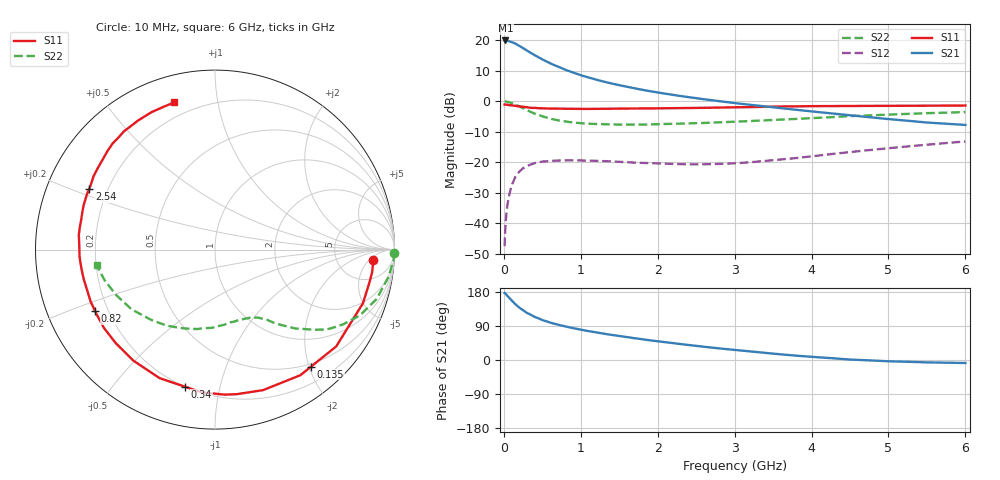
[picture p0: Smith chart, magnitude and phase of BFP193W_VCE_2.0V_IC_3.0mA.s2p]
! Infineon Technologies  Discrete & RF Semiconductors
! BFP193W
! VCE = 2.0 V,  IC =  3.0 mA
! Common Emitter S-Parameters:  Jan 2016
# GHz  S  MA  R  50
!  f  S11  S21  S12  S22
! GHz  MAG  ANG  MAG  ANG  MAG  ANG  MAG  ANG
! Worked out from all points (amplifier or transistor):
!   210 points, 10 MHz to 6 GHz, reference 50 ohm
!   highest |S21| = 19.9 dB at 20 MHz (marker M1)
!   |S21| within 3 dB of that: start of sweep to 280.4 MHz
!   unconditionally stable (mu >= 1): 1.894 GHz to 4.935 GHz
!   at 185 MHz: K = 0.10, MSG = 21.0 dB, |S12| = -23.6 dB
!   at 1.52 GHz: K = 0.80, MSG = 12.5 dB, |S12| = -19.9 dB
!   at 6 GHz: K = 0.96, MSG = 2.7 dB, |S12| = -13.2 dB
!   S11 on the Smith chart (normalised r, x): 10 MHz: 12, -7; 135 MHz: 0.45, -2.03; 340 MHz: 0.20, -0.79; 820 MHz: 0.15, -0.24; 2.54 GHz: 0.13, +0.23; 6 GHz: 0.13, +0.75
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0.01  0.8837 -3.9  9.888 176.9  0.0042 87.6  0.9997 -1.0
0.02  0.8847 -8.0  9.938 175.4  0.0086 84.2  0.9964 -3.7
0.05  0.8769 -19.9  9.819 168.5  0.0213 79.3  0.9789 -8.9
0.095  0.8614 -36.7  9.421 158.5  0.0386 69.8  0.9445 -16.2
0.135  0.8435 -50.6  8.965 150.4  0.0522 62.5  0.9018 -22.1
0.15  0.8462 -55.8  8.824 147.2  0.0573 60.5  0.887 -24.4
0.2  0.8275 -71.1  8.116 138.4  0.0698 53.2  0.8269 -30.2
0.24  0.8146 -81.4  7.58 132.6  0.0777 47.7  0.7807 -34.2
0.3  0.799 -95.2  6.782 124.3  0.0869 41.3  0.7133 -38.8
0.34  0.782 -102.3  6.327 120.5  0.0906 37.8  0.6781 -40.9
0.4  0.7799 -113.3  5.707 113.8  0.0967 33.1  0.6273 -44.5
0.5  0.7678 -126.5  4.86 105.4  0.1024 27.4  0.5655 -48.3
0.6  0.7598 -136.7  4.2 98.8  0.1051 22.8  0.5195 -51.4
0.82  0.7508 -152.8  3.211 87.5  0.1074 16.8  0.462 -56.1
1.02  0.7476 -162.9  2.627 79.3  0.1068 13.4  0.4347 -60.5
1.42  0.7554 -177.8  1.932 65.6  0.1029 10.4  0.4171 -69.1
2.02  0.7663 165.5  1.38 48.8  0.0952 13.3  0.4217 -83.0
2.54  0.7783 154.2  1.105 36.4  0.0923 20.2  0.4389 -96.0
3.1  0.7984 143.1  0.904 24.5  0.0979 29.7  0.4673 -109.7
4.1  0.8317 126.3  0.662 7.0  0.1294 40.2  0.5356 -134.8
5.1  0.8434 113.9  0.498 -3.9  0.1746 40.7  0.6112 -157.2
6  0.8509 105.4  0.409 -7.9  0.2191 37.0  0.6656 -172.4
